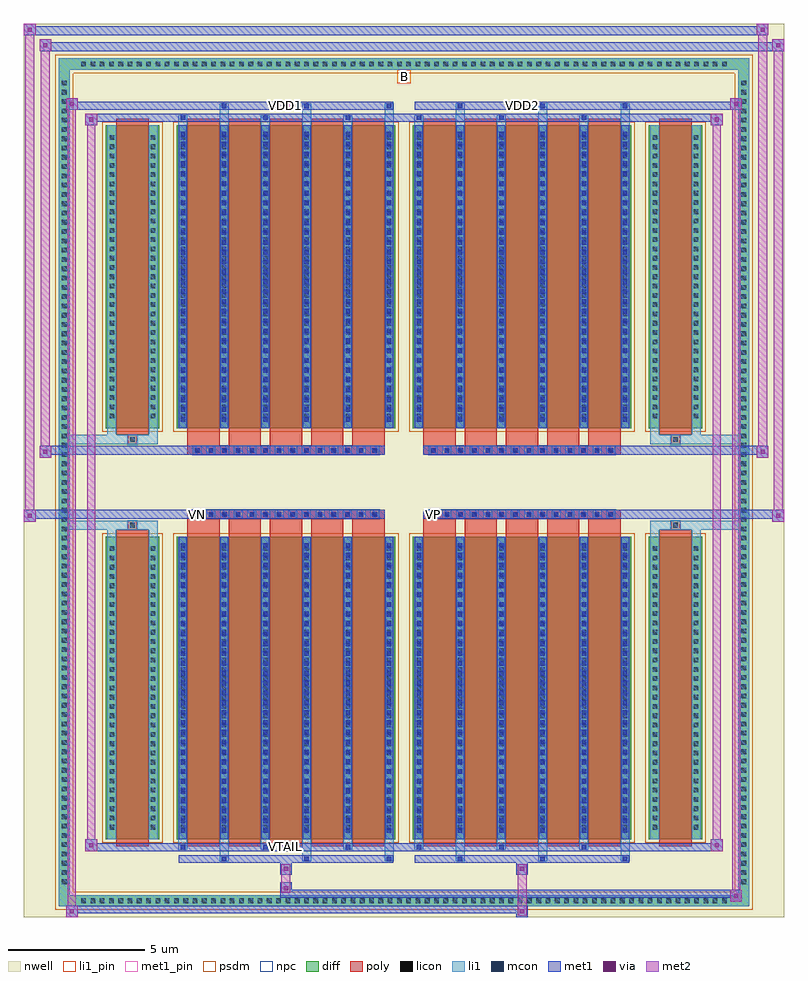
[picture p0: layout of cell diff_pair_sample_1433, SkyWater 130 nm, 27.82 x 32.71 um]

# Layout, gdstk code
import gdstk
lib = gdstk.Library(unit=1e-6, precision=5e-09)
def R(c, l, rs):  # rectangles x0, y0, x1, y1
    for r in rs: c.add(gdstk.rectangle(r[:2], r[2:], *l))
def A(c, l, x, y, w, h, nx, ny, dx, dy):  # array of equal rectangles
    R(c, l, [(x+i*dx, y+j*dy, x+i*dx+w, y+j*dy+h) for i in range(nx) for j in range(ny)])
def P(c, l, *ps):  # polygons
    for p in ps: c.add(gdstk.Polygon(p, *l))
nwell = (64, 20)
diff = (65, 20)
poly = (66, 20)
licon = (66, 44)
li1_pin = (67, 16)
li1 = (67, 20)
mcon = (67, 44)
met1_pin = (68, 16)
met1 = (68, 20)
via = (68, 44)
met2 = (69, 20)
psdm = (94, 20)
npc = (95, 20)

diff_pair_sample_1433 = lib.new_cell('diff_pair_sample_1433')
R(diff_pair_sample_1433, nwell, [(-13.91,-15.92,13.91,16.79), (-11.23,-14.11,-0.01,-0.805), (0.01,-14.11,11.23,-0.805), (-11.23,0.805,-0.01,14.11), (0.01,0.805,11.23,14.11)])
A(diff_pair_sample_1433, diff, -11.935, -15.52, 0.41, 0.41, 70, 2, 0.34, 30.63)
A(diff_pair_sample_1433, diff, -12.64, -14.825, 0.41, 0.41, 1, 87, 0, 0.34)
A(diff_pair_sample_1433, diff, 12.23, -14.825, 0.41, 0.41, 1, 87, 0, 0.34)
R(diff_pair_sample_1433, diff, [(-11.935,-15.52,11.935,-15.11), (-12.64,-14.825,-12.23,14.825), (12.23,-14.825,12.64,14.825), (-10.92,-13.065,-8.96,-1.985), (-8.32,-13.065,-0.32,-1.985), (0.32,-13.065,8.32,-1.985), (8.96,-13.065,10.92,-1.985), (-10.92,1.985,-8.96,13.065), (-8.32,1.985,-0.32,13.065), (0.32,1.985,8.32,13.065), (8.96,1.985,10.92,13.065), (-11.935,15.11,11.935,15.52)])
P(diff_pair_sample_1433, diff, [(12.64,15.52),(-12.64,15.52),(-12.64,-15.11),(-12.23,-15.11),(-12.23,15.11),(12.23,15.11),(12.23,-15.11),(-12.23,-15.11),(-12.64,-15.11),(-12.64,-15.52),(12.64,-15.52)])
A(diff_pair_sample_1433, poly, -7.93, -13.315, 1.18, 11.58, 5, 2, 1.51, 15.05)
A(diff_pair_sample_1433, poly, 0.71, -13.315, 1.18, 11.58, 5, 2, 1.51, 15.05)
A(diff_pair_sample_1433, poly, -7.93, -1.735, 1.18, 0.4, 5, 2, 1.51, 3.07)
A(diff_pair_sample_1433, poly, 0.71, -1.735, 1.18, 0.4, 5, 2, 1.51, 3.07)
A(diff_pair_sample_1433, poly, -7.735, -1.335, 0.33, 0.33, 14, 2, 0.5, 2.34)
A(diff_pair_sample_1433, poly, 0.905, -1.335, 0.33, 0.33, 14, 2, 0.5, 2.34)
R(diff_pair_sample_1433, poly, [(-10.53,-13.315,-9.35,-1.735), (9.35,-13.315,10.53,-1.735), (-10.105,-1.735,-9.775,-1.405), (-10.105,-1.735,-9.775,-1.405), (9.775,-1.735,10.105,-1.405), (9.775,-1.735,10.105,-1.405), (-7.93,-1.335,-0.71,-1.005), (0.71,-1.335,7.93,-1.005), (-7.93,1.005,-0.71,1.335), (0.71,1.005,7.93,1.335), (-10.105,1.405,-9.775,1.735), (-10.105,1.405,-9.775,1.735), (9.775,1.405,10.105,1.735), (9.775,1.405,10.105,1.735), (-10.53,1.735,-9.35,13.315), (9.35,1.735,10.53,13.315)])
A(diff_pair_sample_1433, licon, -11.815, -15.4, 0.17, 0.17, 70, 2, 0.34, 30.63)
A(diff_pair_sample_1433, licon, -12.52, -14.705, 0.17, 0.17, 1, 87, 0, 0.34)
A(diff_pair_sample_1433, licon, 12.35, -14.705, 0.17, 0.17, 1, 87, 0, 0.34)
A(diff_pair_sample_1433, licon, -10.78, -12.71, 0.17, 0.17, 1, 31, 0, 0.34)
A(diff_pair_sample_1433, licon, -9.27, -12.71, 0.17, 0.17, 1, 31, 0, 0.34)
A(diff_pair_sample_1433, licon, -8.18, -12.71, 0.17, 0.17, 6, 31, 1.51, 0.34)
A(diff_pair_sample_1433, licon, 0.46, -12.71, 0.17, 0.17, 6, 31, 1.51, 0.34)
A(diff_pair_sample_1433, licon, 9.1, -12.71, 0.17, 0.17, 1, 31, 0, 0.34)
A(diff_pair_sample_1433, licon, 10.61, -12.71, 0.17, 0.17, 1, 31, 0, 0.34)
A(diff_pair_sample_1433, licon, -7.655, -1.255, 0.17, 0.17, 14, 2, 0.5, 2.34)
A(diff_pair_sample_1433, licon, 0.985, -1.255, 0.17, 0.17, 14, 2, 0.5, 2.34)
A(diff_pair_sample_1433, licon, -10.78, 2.34, 0.17, 0.17, 1, 31, 0, 0.34)
A(diff_pair_sample_1433, licon, -9.27, 2.34, 0.17, 0.17, 1, 31, 0, 0.34)
A(diff_pair_sample_1433, licon, -8.18, 2.34, 0.17, 0.17, 6, 31, 1.51, 0.34)
A(diff_pair_sample_1433, licon, 0.46, 2.34, 0.17, 0.17, 6, 31, 1.51, 0.34)
A(diff_pair_sample_1433, licon, 9.1, 2.34, 0.17, 0.17, 1, 31, 0, 0.34)
A(diff_pair_sample_1433, licon, 10.61, 2.34, 0.17, 0.17, 1, 31, 0, 0.34)
R(diff_pair_sample_1433, licon, [(-10.025,-1.655,-9.855,-1.485), (9.855,-1.655,10.025,-1.485), (-10.025,1.485,-9.855,1.655), (9.855,1.485,10.025,1.655)])
R(diff_pair_sample_1433, li1_pin, [(-0.25,14.61,0.25,15.11)])
A(diff_pair_sample_1433, li1, -11.895, -15.48, 0.33, 0.33, 70, 2, 0.34, 30.63)
A(diff_pair_sample_1433, li1, -12.6, -14.785, 0.33, 0.33, 1, 87, 0, 0.34)
A(diff_pair_sample_1433, li1, 12.27, -14.785, 0.33, 0.33, 1, 87, 0, 0.34)
A(diff_pair_sample_1433, li1, -6.75, -13.87, 0.33, 0.805, 3, 2, 3.02, 26.935)
A(diff_pair_sample_1433, li1, -6.67, -13.87, 0.17, 0.17, 3, 2, 3.02, 27.57)
A(diff_pair_sample_1433, li1, 1.89, -13.87, 0.33, 0.805, 3, 2, 3.02, 26.935)
A(diff_pair_sample_1433, li1, 1.97, -13.87, 0.17, 0.17, 3, 2, 3.02, 27.57)
A(diff_pair_sample_1433, li1, -8.26, -13.44, 0.33, 0.375, 3, 2, 3.02, 26.505)
A(diff_pair_sample_1433, li1, -8.18, -13.44, 0.17, 0.17, 3, 2, 3.02, 26.71)
A(diff_pair_sample_1433, li1, 0.38, -13.44, 0.33, 0.375, 3, 2, 3.02, 26.505)
A(diff_pair_sample_1433, li1, 0.46, -13.44, 0.17, 0.17, 3, 2, 3.02, 26.71)
A(diff_pair_sample_1433, li1, -8.26, -13.065, 0.33, 11.08, 6, 2, 1.51, 15.05)
A(diff_pair_sample_1433, li1, 0.38, -13.065, 0.33, 11.08, 6, 2, 1.51, 15.05)
A(diff_pair_sample_1433, li1, -8.18, -12.83, 0.17, 0.17, 6, 30, 1.51, 0.36)
A(diff_pair_sample_1433, li1, -8.18, -12.83, 0.17, 10.61, 6, 2, 1.51, 15.05)
A(diff_pair_sample_1433, li1, 0.46, -12.83, 0.17, 0.17, 6, 30, 1.51, 0.36)
A(diff_pair_sample_1433, li1, 0.46, -12.83, 0.17, 10.61, 6, 2, 1.51, 15.05)
A(diff_pair_sample_1433, li1, -10.86, -12.79, 0.33, 0.33, 1, 31, 0, 0.34)
A(diff_pair_sample_1433, li1, -9.35, -12.79, 0.33, 0.33, 1, 31, 0, 0.34)
A(diff_pair_sample_1433, li1, -8.26, -12.79, 0.33, 0.33, 6, 31, 1.51, 0.34)
A(diff_pair_sample_1433, li1, 0.38, -12.79, 0.33, 0.33, 6, 31, 1.51, 0.34)
A(diff_pair_sample_1433, li1, 9.02, -12.79, 0.33, 0.33, 1, 31, 0, 0.34)
A(diff_pair_sample_1433, li1, 10.53, -12.79, 0.33, 0.33, 1, 31, 0, 0.34)
A(diff_pair_sample_1433, li1, -7.735, -1.335, 0.33, 0.33, 14, 2, 0.5, 2.34)
A(diff_pair_sample_1433, li1, 0.905, -1.335, 0.33, 0.33, 14, 2, 0.5, 2.34)
A(diff_pair_sample_1433, li1, -8.18, 2.22, 0.17, 0.17, 6, 30, 1.51, 0.36)
A(diff_pair_sample_1433, li1, 0.46, 2.22, 0.17, 0.17, 6, 30, 1.51, 0.36)
A(diff_pair_sample_1433, li1, -10.86, 2.26, 0.33, 0.33, 1, 31, 0, 0.34)
A(diff_pair_sample_1433, li1, -9.35, 2.26, 0.33, 0.33, 1, 31, 0, 0.34)
A(diff_pair_sample_1433, li1, -8.26, 2.26, 0.33, 0.33, 6, 31, 1.51, 0.34)
A(diff_pair_sample_1433, li1, 0.38, 2.26, 0.33, 0.33, 6, 31, 1.51, 0.34)
A(diff_pair_sample_1433, li1, 9.02, 2.26, 0.33, 0.33, 1, 31, 0, 0.34)
A(diff_pair_sample_1433, li1, 10.53, 2.26, 0.33, 0.33, 1, 31, 0, 0.34)
R(diff_pair_sample_1433, li1, [(-12.64,-15.52,-12.23,-15.11), (-12.64,-15.52,-12.23,-15.11), (-12.23,-15.52,12.23,-15.11), (12.23,-15.52,12.64,-15.11), (12.23,-15.52,12.64,-15.11), (-12.64,-15.11,-12.23,15.11), (12.23,-15.11,12.64,15.11), (-10.86,-13.065,-10.53,-1.985), (-9.35,-13.065,-9.02,-1.985), (9.02,-13.065,9.35,-1.985), (10.53,-13.065,10.86,-1.985), (-10.86,-1.985,-10.53,-1.405), (-9.35,-1.985,-9.02,-1.405), (9.02,-1.985,9.35,-1.405), (10.53,-1.985,10.86,-1.405), (-12.64,-1.735,-10.105,-1.405), (-10.86,-1.735,-10.105,-1.405), (-10.105,-1.735,-9.775,-1.405), (-9.775,-1.735,-9.02,-1.405), (9.02,-1.735,9.775,-1.405), (9.775,-1.735,10.105,-1.405), (9.775,-1.735,12.64,-1.405), (10.105,-1.735,10.86,-1.405), (-12.64,1.405,-10.105,1.735), (-10.86,1.405,-10.105,1.735), (-10.86,1.405,-10.53,1.985), (-10.105,1.405,-9.775,1.735), (-9.775,1.405,-9.02,1.735), (-9.35,1.405,-9.02,1.985), (9.02,1.405,9.775,1.735), (9.02,1.405,9.35,1.985), (9.775,1.405,10.105,1.735), (9.775,1.405,12.64,1.735), (10.105,1.405,10.86,1.735), (10.53,1.405,10.86,1.985), (-10.86,1.985,-10.53,13.065), (-9.35,1.985,-9.02,13.065), (9.02,1.985,9.35,13.065), (10.53,1.985,10.86,13.065), (-12.64,15.11,-12.23,15.52), (-12.64,15.11,-12.23,15.52), (-12.23,15.11,12.23,15.52), (12.23,15.11,12.64,15.52), (12.23,15.11,12.64,15.52)])
A(diff_pair_sample_1433, mcon, -6.67, -13.87, 0.17, 0.17, 3, 2, 3.02, 27.57)
A(diff_pair_sample_1433, mcon, 1.97, -13.87, 0.17, 0.17, 3, 2, 3.02, 27.57)
A(diff_pair_sample_1433, mcon, -8.18, -13.44, 0.17, 0.17, 3, 2, 3.02, 26.71)
A(diff_pair_sample_1433, mcon, 0.46, -13.44, 0.17, 0.17, 3, 2, 3.02, 26.71)
A(diff_pair_sample_1433, mcon, -8.18, -12.83, 0.17, 0.17, 6, 30, 1.51, 0.36)
A(diff_pair_sample_1433, mcon, 0.46, -12.83, 0.17, 0.17, 6, 30, 1.51, 0.36)
A(diff_pair_sample_1433, mcon, -7.655, -1.255, 0.17, 0.17, 14, 2, 0.5, 2.34)
A(diff_pair_sample_1433, mcon, 0.985, -1.255, 0.17, 0.17, 14, 2, 0.5, 2.34)
A(diff_pair_sample_1433, mcon, -8.18, 2.22, 0.17, 0.17, 6, 30, 1.51, 0.36)
A(diff_pair_sample_1433, mcon, 0.46, 2.22, 0.17, 0.17, 6, 30, 1.51, 0.36)
R(diff_pair_sample_1433, met1_pin, [(-4.455,-13.48,-4.185,-13.21), (-7.705,-1.295,-7.435,-1.025), (0.935,-1.295,1.205,-1.025), (-4.455,13.66,-4.185,13.93), (4.185,13.66,4.455,13.93)])
A(diff_pair_sample_1433, met1, -6.73, -13.93, 0.29, 0.29, 3, 2, 3.02, 27.57)
A(diff_pair_sample_1433, met1, 1.91, -13.93, 0.29, 0.29, 3, 2, 3.02, 27.57)
A(diff_pair_sample_1433, met1, -8.24, -13.5, 0.29, 0.29, 3, 2, 3.02, 26.71)
A(diff_pair_sample_1433, met1, 0.4, -13.5, 0.29, 0.29, 3, 2, 3.02, 26.71)
A(diff_pair_sample_1433, met1, -8.24, -13.065, 0.29, 11.08, 6, 2, 1.51, 15.05)
A(diff_pair_sample_1433, met1, 0.4, -13.065, 0.29, 11.08, 6, 2, 1.51, 15.05)
A(diff_pair_sample_1433, met1, -8.24, -12.89, 0.29, 0.29, 6, 30, 1.51, 0.36)
A(diff_pair_sample_1433, met1, 0.4, -12.89, 0.29, 0.29, 6, 30, 1.51, 0.36)
A(diff_pair_sample_1433, met1, -7.715, -1.315, 0.29, 0.29, 14, 2, 0.5, 2.34)
A(diff_pair_sample_1433, met1, 0.925, -1.315, 0.29, 0.29, 14, 2, 0.5, 2.34)
A(diff_pair_sample_1433, met1, -8.24, 2.16, 0.29, 0.29, 6, 30, 1.51, 0.36)
A(diff_pair_sample_1433, met1, 0.4, 2.16, 0.29, 0.29, 6, 30, 1.51, 0.36)
R(diff_pair_sample_1433, met1, [(-12.37,-15.92,-11.94,-15.49), (4.105,-15.92,4.535,-15.49), (-12.37,-15.78,4.535,-15.49), (11.94,-15.35,12.37,-14.92), (-4.535,-15.21,12.37,-14.92), (-4.535,-15.07,-4.105,-14.64), (-4.535,-14.36,-4.105,-13.93), (4.105,-14.36,4.535,-13.93), (-8.24,-13.93,-0.4,-13.64), (0.4,-13.93,8.24,-13.64), (-11.66,-13.5,-11.23,-13.07), (-11.66,-13.5,-8.24,-13.21), (-8.24,-13.5,-0.4,-13.21), (-0.4,-13.5,0.4,-13.21), (0.4,-13.5,8.24,-13.21), (8.24,-13.5,11.66,-13.21), (11.23,-13.5,11.66,-13.07), (-13.91,-1.435,-13.48,-1.005), (13.48,-1.435,13.91,-1.005), (-13.91,-1.335,-0.71,-1.005), (-7.93,-1.335,-0.71,-1.005), (0.71,-1.335,7.93,-1.005), (0.71,-1.335,13.91,-1.005), (-13.34,0.905,-12.91,1.335), (12.91,0.905,13.34,1.335), (-13.34,1.005,-7.93,1.335), (-7.93,1.005,-0.71,1.335), (0.71,1.005,7.93,1.335), (7.93,1.005,13.34,1.335), (-11.66,13.07,-11.23,13.5), (11.23,13.07,11.66,13.5), (-11.66,13.21,-8.24,13.5), (-8.24,13.21,-0.4,13.5), (-0.4,13.21,0.4,13.5), (0.4,13.21,8.24,13.5), (8.24,13.21,11.66,13.5), (-12.37,13.64,-11.94,14.07), (-12.37,13.64,-8.24,13.93), (-8.24,13.64,-0.4,13.93), (0.4,13.64,8.24,13.93), (8.24,13.64,12.37,13.93), (11.94,13.64,12.37,14.07), (-13.34,15.79,-12.91,16.22), (-13.34,15.79,-11.23,16.12), (-11.23,15.79,11.23,16.12), (11.23,15.79,13.91,16.12), (13.48,15.79,13.91,16.22), (-13.91,16.36,-13.48,16.79), (-13.91,16.36,-11.23,16.69), (-11.23,16.36,11.23,16.69), (11.23,16.36,13.34,16.69), (12.91,16.36,13.34,16.79)])
R(diff_pair_sample_1433, via, [(-12.23,-15.78,-12.08,-15.63), (4.245,-15.78,4.395,-15.63), (12.08,-15.21,12.23,-15.06), (-4.395,-14.93,-4.245,-14.78), (-4.395,-14.22,-4.245,-14.07), (4.245,-14.22,4.395,-14.07), (-11.52,-13.36,-11.37,-13.21), (11.37,-13.36,11.52,-13.21), (-13.77,-1.295,-13.62,-1.145), (13.62,-1.295,13.77,-1.145), (-13.2,1.045,-13.05,1.195), (13.05,1.045,13.2,1.195), (-11.52,13.21,-11.37,13.36), (11.37,13.21,11.52,13.36), (-12.23,13.78,-12.08,13.93), (12.08,13.78,12.23,13.93), (-13.2,15.93,-13.05,16.08), (13.62,15.93,13.77,16.08), (-13.77,16.5,-13.62,16.65), (13.05,16.5,13.2,16.65)])
R(diff_pair_sample_1433, met2, [(-12.37,-15.92,-11.94,-15.49), (-12.3,-15.92,-12.01,14.07), (-12.01,-15.92,-11.94,-15.49), (-12.32,-15.87,-11.99,-15.54), (4.155,-15.87,4.485,-15.54), (4.155,-15.54,4.485,-14.31), (11.94,-15.35,12.37,-14.92), (12.01,-15.35,12.3,14.07), (12.3,-15.35,12.37,-14.92), (11.99,-15.3,12.32,-14.97), (-4.485,-15.02,-4.155,-14.69), (-4.485,-14.69,-4.155,-14.31), (-4.485,-14.31,-4.155,-13.98), (4.155,-14.31,4.485,-13.98), (-11.66,-13.5,-11.23,-13.07), (-11.59,-13.5,-11.3,13.5), (-11.3,-13.5,-11.23,-13.07), (11.23,-13.5,11.66,-13.07), (11.3,-13.5,11.59,13.5), (11.59,-13.5,11.66,-13.07), (-11.61,-13.45,-11.28,-13.12), (11.28,-13.45,11.61,-13.12), (-13.91,-1.435,-13.48,-1.005), (-13.86,-1.435,-13.53,16.79), (-13.53,-1.435,-13.48,-1.005), (13.48,-1.435,13.91,-1.005), (13.53,-1.435,13.86,16.22), (13.86,-1.435,13.91,-1.005), (-13.86,-1.385,-13.53,-1.055), (13.53,-1.385,13.86,-1.055), (-13.34,0.905,-12.91,1.335), (-13.29,0.905,-12.96,16.22), (-12.96,0.905,-12.91,1.335), (12.91,0.905,13.34,1.335), (12.96,0.905,13.29,16.79), (13.29,0.905,13.34,1.335), (-13.29,0.955,-12.96,1.285), (12.96,0.955,13.29,1.285), (-11.66,13.07,-11.23,13.5), (-11.3,13.07,-11.23,13.5), (11.23,13.07,11.66,13.5), (11.59,13.07,11.66,13.5), (-11.61,13.12,-11.28,13.45), (11.28,13.12,11.61,13.45), (-12.37,13.64,-11.94,14.07), (-12.01,13.64,-11.94,14.07), (11.94,13.64,12.37,14.07), (12.3,13.64,12.37,14.07), (-12.32,13.69,-11.99,14.02), (11.99,13.69,12.32,14.02), (-13.34,15.79,-12.91,16.22), (-12.96,15.79,-12.91,16.22), (13.48,15.79,13.91,16.22), (13.86,15.79,13.91,16.22), (-13.29,15.84,-12.96,16.17), (13.53,15.84,13.86,16.17), (-13.91,16.36,-13.48,16.79), (-13.53,16.36,-13.48,16.79), (12.91,16.36,13.34,16.79), (13.29,16.36,13.34,16.79), (-13.86,16.41,-13.53,16.74), (12.96,16.41,13.29,16.74)])
R(diff_pair_sample_1433, psdm, [(-11.05,-13.195,-8.83,-1.855), (-8.45,-13.195,-0.19,-1.855), (0.19,-13.195,8.45,-1.855), (8.83,-13.195,11.05,-1.855), (-11.05,1.855,-8.83,13.195), (-8.45,1.855,-0.19,13.195), (0.19,1.855,8.45,13.195), (8.83,1.855,11.05,13.195)])
P(diff_pair_sample_1433, psdm, [(12.77,15.65),(-12.77,15.65),(-12.77,-14.98),(-12.1,-14.98),(-12.1,14.98),(12.1,14.98),(12.1,-14.98),(-12.1,-14.98),(-12.77,-14.98),(-12.77,-15.65),(12.77,-15.65)])
A(diff_pair_sample_1433, npc, -7.755, -1.355, 0.37, 0.37, 14, 2, 0.5, 2.34)
A(diff_pair_sample_1433, npc, 0.885, -1.355, 0.37, 0.37, 14, 2, 0.5, 2.34)
R(diff_pair_sample_1433, npc, [(-10.125,-1.755,-9.755,-1.385), (9.755,-1.755,10.125,-1.385), (-7.755,-1.355,-6.885,-0.985), (-7.755,-1.355,-6.885,-0.985), (-7.255,-1.355,-6.385,-0.985), (-7.255,-1.355,-6.385,-0.985), (-6.755,-1.355,-5.885,-0.985), (-6.755,-1.355,-5.885,-0.985), (-6.255,-1.355,-5.385,-0.985), (-6.255,-1.355,-5.385,-0.985), (-5.755,-1.355,-4.885,-0.985), (-5.755,-1.355,-4.885,-0.985), (-5.255,-1.355,-4.385,-0.985), (-5.255,-1.355,-4.385,-0.985), (-4.755,-1.355,-3.885,-0.985), (-4.755,-1.355,-3.885,-0.985), (-4.255,-1.355,-3.385,-0.985), (-4.255,-1.355,-3.385,-0.985), (-3.755,-1.355,-2.885,-0.985), (-3.755,-1.355,-2.885,-0.985), (-3.255,-1.355,-2.385,-0.985), (-3.255,-1.355,-2.385,-0.985), (-2.755,-1.355,-1.885,-0.985), (-2.755,-1.355,-1.885,-0.985), (-2.255,-1.355,-1.385,-0.985), (-2.255,-1.355,-1.385,-0.985), (-1.755,-1.355,-0.885,-0.985), (-1.755,-1.355,-0.885,-0.985), (0.885,-1.355,1.755,-0.985), (0.885,-1.355,1.755,-0.985), (1.385,-1.355,2.255,-0.985), (1.385,-1.355,2.255,-0.985), (1.885,-1.355,2.755,-0.985), (1.885,-1.355,2.755,-0.985), (2.385,-1.355,3.255,-0.985), (2.385,-1.355,3.255,-0.985), (2.885,-1.355,3.755,-0.985), (2.885,-1.355,3.755,-0.985), (3.385,-1.355,4.255,-0.985), (3.385,-1.355,4.255,-0.985), (3.885,-1.355,4.755,-0.985), (3.885,-1.355,4.755,-0.985), (4.385,-1.355,5.255,-0.985), (4.385,-1.355,5.255,-0.985), (4.885,-1.355,5.755,-0.985), (4.885,-1.355,5.755,-0.985), (5.385,-1.355,6.255,-0.985), (5.385,-1.355,6.255,-0.985), (5.885,-1.355,6.755,-0.985), (5.885,-1.355,6.755,-0.985), (6.385,-1.355,7.255,-0.985), (6.385,-1.355,7.255,-0.985), (6.885,-1.355,7.755,-0.985), (6.885,-1.355,7.755,-0.985), (-7.755,0.985,-6.885,1.355), (-7.755,0.985,-6.885,1.355), (-7.255,0.985,-6.385,1.355), (-7.255,0.985,-6.385,1.355), (-6.755,0.985,-5.885,1.355), (-6.755,0.985,-5.885,1.355), (-6.255,0.985,-5.385,1.355), (-6.255,0.985,-5.385,1.355), (-5.755,0.985,-4.885,1.355), (-5.755,0.985,-4.885,1.355), (-5.255,0.985,-4.385,1.355), (-5.255,0.985,-4.385,1.355), (-4.755,0.985,-3.885,1.355), (-4.755,0.985,-3.885,1.355), (-4.255,0.985,-3.385,1.355), (-4.255,0.985,-3.385,1.355), (-3.755,0.985,-2.885,1.355), (-3.755,0.985,-2.885,1.355), (-3.255,0.985,-2.385,1.355), (-3.255,0.985,-2.385,1.355), (-2.755,0.985,-1.885,1.355), (-2.755,0.985,-1.885,1.355), (-2.255,0.985,-1.385,1.355), (-2.255,0.985,-1.385,1.355), (-1.755,0.985,-0.885,1.355), (-1.755,0.985,-0.885,1.355), (0.885,0.985,1.755,1.355), (0.885,0.985,1.755,1.355), (1.385,0.985,2.255,1.355), (1.385,0.985,2.255,1.355), (1.885,0.985,2.755,1.355), (1.885,0.985,2.755,1.355), (2.385,0.985,3.255,1.355), (2.385,0.985,3.255,1.355), (2.885,0.985,3.755,1.355), (2.885,0.985,3.755,1.355), (3.385,0.985,4.255,1.355), (3.385,0.985,4.255,1.355), (3.885,0.985,4.755,1.355), (3.885,0.985,4.755,1.355), (4.385,0.985,5.255,1.355), (4.385,0.985,5.255,1.355), (4.885,0.985,5.755,1.355), (4.885,0.985,5.755,1.355), (5.385,0.985,6.255,1.355), (5.385,0.985,6.255,1.355), (5.885,0.985,6.755,1.355), (5.885,0.985,6.755,1.355), (6.385,0.985,7.255,1.355), (6.385,0.985,7.255,1.355), (6.885,0.985,7.755,1.355), (6.885,0.985,7.755,1.355), (-10.125,1.385,-9.755,1.755), (9.755,1.385,10.125,1.755)])
diff_pair_sample_1433.add(gdstk.Label('VTAIL', (-4.32,-13.345), layer=68, texttype=5))
diff_pair_sample_1433.add(gdstk.Label('VN', (-7.57,-1.16), layer=68, texttype=5))
diff_pair_sample_1433.add(gdstk.Label('VP', (1.07,-1.16), layer=68, texttype=5))
diff_pair_sample_1433.add(gdstk.Label('B', (0,14.86), layer=67, texttype=5))
diff_pair_sample_1433.add(gdstk.Label('VDD2', (4.32,13.795), layer=68, texttype=5))
diff_pair_sample_1433.add(gdstk.Label('VDD1', (-4.32,13.795), layer=68, texttype=5))

lib.write_gds('diff_pair_sample_1433.gds')
